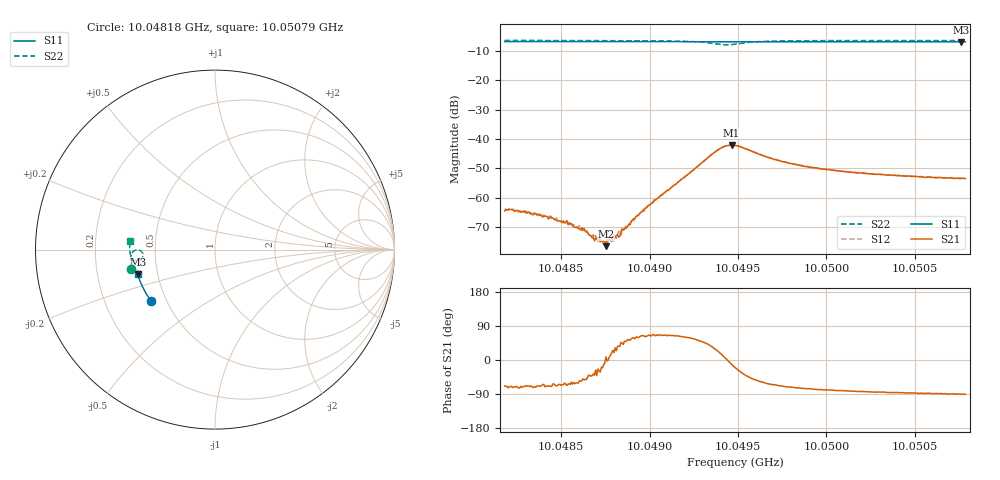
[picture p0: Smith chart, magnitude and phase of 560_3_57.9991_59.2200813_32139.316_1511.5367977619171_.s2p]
#  HZ  S  RI  R  50.00
! Rohde & Schwarz Vector Network Analyzer
! Rohde-Schwarz,ZNB20-2Port,1311601062101988,3.16
! Created: UTC 3/21/2024, 1:15:23 AM
! freq[Hz]  re:S11  im:S11  re:S21  im:S21  re:S12  im:S12  re:S22  im:S22
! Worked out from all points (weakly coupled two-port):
!   401 points, 10.04818 GHz to 10.05079 GHz, reference 50 ohm
!   highest |S21| = -42.11 dB at 10.04946 GHz (marker M1); lowest = -76.6 dB at 10.04875 GHz (marker M2)
!   lowest |S11| = -6.9 dB at 10.05076 GHz (marker M3), VSWR 2.65, Z = 19.3 - j6.7 ohm
!   |S11| at or under -10 dB: nowhere
!   |S22| runs from -7.9 to -6.4 dB; largest |S21 - S12| = 0.00057
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1.004818e10  -0.3543 -0.288  0.000215 -0.000552  0.000263 -0.000579  -0.4654 -0.1071
1.0048213e10  -0.3555 -0.2865  0.000214 -0.000585  0.000249 -0.000555  -0.4658 -0.1047
1.0048369e10  -0.3618 -0.2781  0.000188 -0.000481  0.000216 -0.000477  -0.4678 -0.0936
1.0048435e10  -0.3644 -0.2746  0.000168 -0.000414  0.000233 -0.000418  -0.4684 -0.0889
1.0048545e10  -0.3685 -0.2685  0.00017 -0.00033  0.000177 -0.000292  -0.4695 -0.0807
1.0048617e10  -0.3711 -0.2646  0.000178 -0.000249  0.000177 -0.000209  -0.47 -0.0753
1.0048682e10  -0.3735 -0.2611  0.000167 -0.000126  0.00019 -0.000134  -0.4703 -0.0701
1.0048747e10  -0.3758 -0.2576  0.00018 -2.48e-05  0.000161 -3.58e-06  -0.4708 -0.065
1.0048754e10  -0.3761 -0.2572  0.000146 2.2e-05  0.000158 7.95e-06  -0.4709 -0.0645
1.0048786e10  -0.3773 -0.2554  0.000191 6.6e-05  0.000175 3.02e-05  -0.471 -0.0618
1.0048819e10  -0.3784 -0.2534  0.00019 0.000135  0.000202 0.000114  -0.4711 -0.0588
1.004891e10  -0.3815 -0.2485  0.000229 0.000369  0.000213 0.000332  -0.4708 -0.0507
1.0049053e10  -0.3863 -0.2403  0.000416 0.000923  0.000328 0.000958  -0.4689 -0.036
1.0049379e10  -0.3962 -0.2213  0.00561 0.00273  0.00545 0.0031  -0.4173 -0.00476
1.0049418e10  -0.3971 -0.2192  0.00723 0.00128  0.00718 0.00174  -0.404 -0.0187
1.0049464e10  -0.3983 -0.2168  0.0077 -0.00153  0.0078 -0.00097  -0.4036 -0.0433
1.0049483e10  -0.3991 -0.2159  0.00728 -0.00261  0.00749 -0.00214  -0.4088 -0.052
1.0049718e10  -0.4063 -0.2022  0.00176 -0.00401  0.002 -0.00395  -0.4649 -0.0428
1.004992e10  -0.4118 -0.1901  0.000739 -0.00317  0.00095 -0.00315  -0.473 -0.02
1.0050356e10  -0.4225 -0.1635  0.000167 -0.0024  0.000314 -0.00238  -0.4754 0.0166
1.005076e10  -0.4306 -0.1383  -8.59e-06 -0.00212  0.000108 -0.00213  -0.4738 0.0458
1.0050786e10  -0.4312 -0.1369  -2.25e-05 -0.0021  0.00011 -0.00213  -0.4734 0.0476
